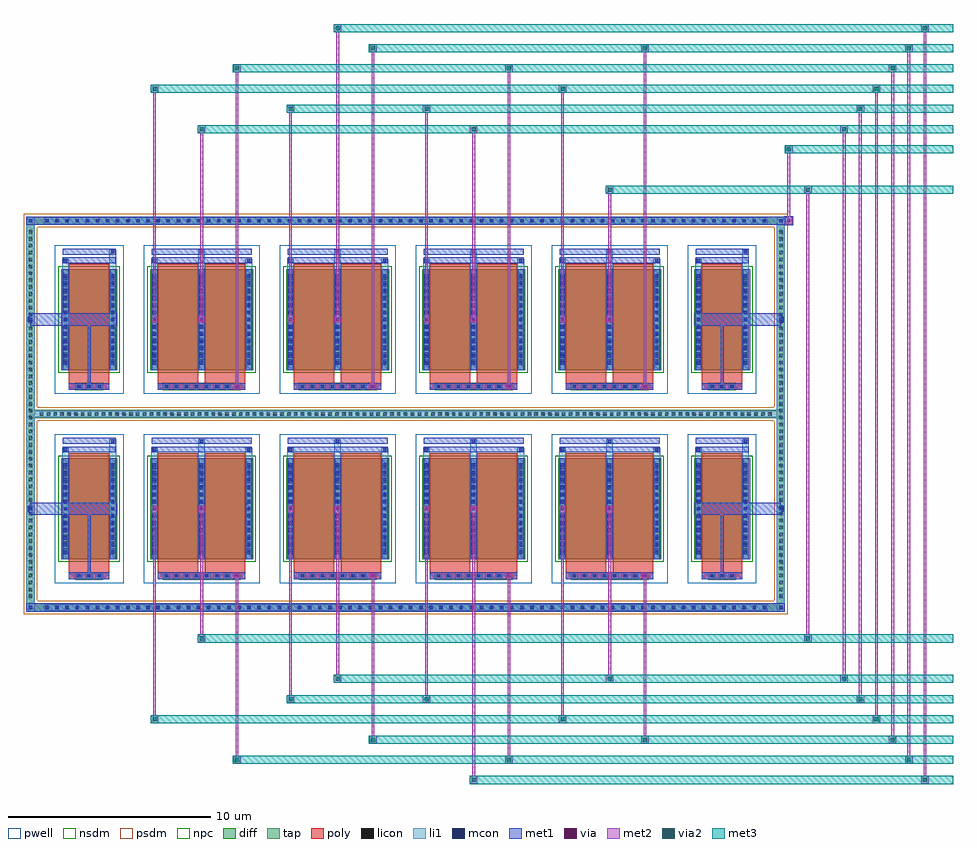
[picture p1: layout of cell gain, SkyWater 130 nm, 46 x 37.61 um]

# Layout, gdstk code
import gdstk
lib = gdstk.Library(unit=1e-6, precision=5e-09)
def R(c, l, rs):  # rectangles x0, y0, x1, y1
    for r in rs: c.add(gdstk.rectangle(r[:2], r[2:], *l))
def A(c, l, x, y, w, h, nx, ny, dx, dy):  # array of equal rectangles
    R(c, l, [(x+i*dx, y+j*dy, x+i*dx+w, y+j*dy+h) for i in range(nx) for j in range(ny)])
def P(c, l, *ps):  # polygons
    for p in ps: c.add(gdstk.Polygon(p, *l))
pwell = (64, 44)
diff = (65, 20)
tap = (65, 44)
poly = (66, 20)
licon = (66, 44)
li1 = (67, 20)
mcon = (67, 44)
met1 = (68, 20)
via = (68, 44)
met2 = (69, 20)
via2 = (69, 44)
met3 = (70, 20)
nsdm = (93, 44)
psdm = (94, 20)
npc = (95, 20)

unnamed_b4f58197 = lib.new_cell('Unnamed_b4f58197')
R(unnamed_b4f58197, pwell, [(-2.865,-3.68,2.865,3.685)])
R(unnamed_b4f58197, diff, [(-2.555,-2.5,2.555,2.5)])
A(unnamed_b4f58197, poly, -1.915, -3.48, 0.33, 0.33, 8, 1, 0.5, 0)
R(unnamed_b4f58197, poly, [(-2.165,-3.48,2.165,-3.15), (-2.165,-3.15,-0.165,-2.75), (0.165,-3.15,2.165,-2.75), (-2.165,-2.75,-0.165,2.75), (0.165,-2.75,2.165,2.75)])
A(unnamed_b4f58197, licon, -1.835, -3.4, 0.17, 0.17, 8, 1, 0.5, 0)
A(unnamed_b4f58197, licon, -2.415, -2.125, 0.17, 0.17, 3, 13, 2.33, 0.34)
A(unnamed_b4f58197, li1, -1.915, -3.48, 0.33, 0.33, 8, 1, 0.5, 0)
A(unnamed_b4f58197, li1, -2.495, -2.5, 0.33, 5, 3, 1, 2.33, 0)
A(unnamed_b4f58197, li1, -2.415, -2.245, 0.17, 0.17, 3, 13, 2.33, 0.36)
A(unnamed_b4f58197, li1, -2.415, -2.245, 0.17, 4.49, 3, 1, 2.33, 0)
A(unnamed_b4f58197, li1, -2.495, -2.205, 0.33, 0.33, 3, 13, 2.33, 0.34)
R(unnamed_b4f58197, li1, [(-2.495,2.5,-2.165,3.015), (-0.165,2.5,0.165,3.445), (2.165,2.5,2.495,3.015), (-2.415,2.845,-2.245,3.015), (2.245,2.845,2.415,3.015), (-0.085,3.275,0.085,3.445)])
A(unnamed_b4f58197, mcon, -1.835, -3.4, 0.17, 0.17, 8, 1, 0.5, 0)
A(unnamed_b4f58197, mcon, -2.415, -2.245, 0.17, 0.17, 3, 13, 2.33, 0.36)
R(unnamed_b4f58197, mcon, [(-2.415,2.845,-2.245,3.015), (2.245,2.845,2.415,3.015), (-0.085,3.275,0.085,3.445)])
A(unnamed_b4f58197, met1, -1.895, -3.46, 0.29, 0.29, 8, 1, 0.5, 0)
A(unnamed_b4f58197, met1, -2.475, -2.5, 0.29, 5, 3, 1, 2.33, 0)
A(unnamed_b4f58197, met1, -2.475, -2.305, 0.29, 0.29, 3, 13, 2.33, 0.36)
R(unnamed_b4f58197, met1, [(-2.165,-3.48,2.165,-3.15), (-2.475,2.785,-2.185,3.075), (-2.475,2.785,2.475,3.075), (2.185,2.785,2.475,3.075), (-2.475,3.215,2.475,3.505), (-0.145,3.215,0.145,3.505)])
R(unnamed_b4f58197, nsdm, [(-2.685,-2.63,2.685,2.63)])
A(unnamed_b4f58197, npc, -1.935, -3.5, 0.37, 0.37, 8, 1, 0.5, 0)
R(unnamed_b4f58197, npc, [(-1.935,-3.5,-1.065,-3.13), (-1.935,-3.5,-1.065,-3.13), (-1.435,-3.5,-0.565,-3.13), (-1.435,-3.5,-0.565,-3.13), (-0.935,-3.5,-0.065,-3.13), (-0.935,-3.5,-0.065,-3.13), (-0.435,-3.5,0.435,-3.13), (-0.435,-3.5,0.435,-3.13), (0.065,-3.5,0.935,-3.13), (0.065,-3.5,0.935,-3.13), (0.565,-3.5,1.435,-3.13), (0.565,-3.5,1.435,-3.13), (1.065,-3.5,1.935,-3.13), (1.065,-3.5,1.935,-3.13)])

unnamed_fe0c7317 = lib.new_cell('Unnamed_fe0c7317')
R(unnamed_fe0c7317, pwell, [(-1.7,-3.68,1.7,3.685)])
R(unnamed_fe0c7317, diff, [(-1.39,-2.5,1.39,2.5)])
A(unnamed_fe0c7317, poly, -0.665, -3.48, 0.33, 0.33, 3, 1, 0.5, 0)
R(unnamed_fe0c7317, poly, [(-1,-3.48,1,-3.15), (-1,-3.15,1,-2.75), (-1,-2.75,1,2.75)])
A(unnamed_fe0c7317, licon, -0.585, -3.4, 0.17, 0.17, 3, 1, 0.5, 0)
A(unnamed_fe0c7317, licon, -1.25, -2.125, 0.17, 0.17, 1, 13, 0, 0.34)
A(unnamed_fe0c7317, licon, 1.08, -2.125, 0.17, 0.17, 1, 13, 0, 0.34)
A(unnamed_fe0c7317, li1, -0.665, -3.48, 0.33, 0.33, 3, 1, 0.5, 0)
A(unnamed_fe0c7317, li1, -1.25, -2.245, 0.17, 0.17, 1, 13, 0, 0.36)
A(unnamed_fe0c7317, li1, 1.08, -2.245, 0.17, 0.17, 1, 13, 0, 0.36)
A(unnamed_fe0c7317, li1, -1.33, -2.205, 0.33, 0.33, 1, 13, 0, 0.34)
A(unnamed_fe0c7317, li1, 1, -2.205, 0.33, 0.33, 1, 13, 0, 0.34)
R(unnamed_fe0c7317, li1, [(-1.33,-2.5,-1,2.5), (1,-2.5,1.33,2.5), (-1.25,-2.245,-1.08,2.245), (1.08,-2.245,1.25,2.245), (-1.33,2.5,-1,3.015), (1,2.5,1.33,3.445), (-1.25,2.845,-1.08,3.015), (1.08,3.275,1.25,3.445)])
A(unnamed_fe0c7317, mcon, -0.585, -3.4, 0.17, 0.17, 3, 1, 0.5, 0)
A(unnamed_fe0c7317, mcon, -1.25, -2.245, 0.17, 0.17, 1, 13, 0, 0.36)
A(unnamed_fe0c7317, mcon, 1.08, -2.245, 0.17, 0.17, 1, 13, 0, 0.36)
R(unnamed_fe0c7317, mcon, [(-1.25,2.845,-1.08,3.015), (1.08,3.275,1.25,3.445)])
A(unnamed_fe0c7317, met1, -0.645, -3.46, 0.29, 0.29, 3, 1, 0.5, 0)
A(unnamed_fe0c7317, met1, -1.31, -2.305, 0.29, 0.29, 1, 13, 0, 0.36)
A(unnamed_fe0c7317, met1, 1.02, -2.305, 0.29, 0.29, 1, 13, 0, 0.36)
R(unnamed_fe0c7317, met1, [(-1,-3.48,1,-3.15), (-1.31,-2.5,-1.02,2.5), (1.02,-2.5,1.31,2.5), (-1.31,2.785,-1.02,3.075), (-1.31,2.785,1.31,3.075), (-1.31,3.215,1.31,3.505), (1.02,3.215,1.31,3.505)])
R(unnamed_fe0c7317, nsdm, [(-1.52,-2.63,1.52,2.63)])
A(unnamed_fe0c7317, npc, -0.685, -3.5, 0.37, 0.37, 3, 1, 0.5, 0)
R(unnamed_fe0c7317, npc, [(-0.685,-3.5,0.185,-3.13), (-0.685,-3.5,0.185,-3.13), (-0.185,-3.5,0.685,-3.13), (-0.185,-3.5,0.685,-3.13)])

unnamed_6e611ccf_1 = lib.new_cell('Unnamed_6e611ccf$1')
A(unnamed_6e611ccf_1, diff, -17.955, -9.775, 0.41, 0.41, 72, 2, 0.5, 19.14)
A(unnamed_6e611ccf_1, diff, -18.77, -9.215, 0.41, 0.41, 1, 54, 0, 0.34)
A(unnamed_6e611ccf_1, diff, 18.36, -9.215, 0.41, 0.41, 1, 54, 0, 0.34)
R(unnamed_6e611ccf_1, diff, [(-17.955,-9.775,17.955,-9.365), (-18.77,-9.215,-18.36,9.215), (18.36,-9.215,18.77,9.215), (-17.955,9.365,17.955,9.775)])
P(unnamed_6e611ccf_1, diff, [(18.77,9.775),(-18.77,9.775),(-18.77,-9.365),(-18.36,-9.365),(-18.36,9.365),(18.36,9.365),(18.36,-9.365),(-18.36,-9.365),(-18.77,-9.365),(-18.77,-9.775),(18.77,-9.775)])
A(unnamed_6e611ccf_1, licon, -17.835, -9.655, 0.17, 0.17, 72, 2, 0.5, 19.14)
A(unnamed_6e611ccf_1, licon, -18.65, -9.095, 0.17, 0.17, 1, 54, 0, 0.34)
A(unnamed_6e611ccf_1, licon, 18.48, -9.095, 0.17, 0.17, 1, 54, 0, 0.34)
A(unnamed_6e611ccf_1, li1, -17.915, -9.735, 0.33, 0.33, 72, 2, 0.5, 19.14)
A(unnamed_6e611ccf_1, li1, -18.73, -9.175, 0.33, 0.33, 1, 54, 0, 0.34)
A(unnamed_6e611ccf_1, li1, 18.4, -9.175, 0.33, 0.33, 1, 54, 0, 0.34)
R(unnamed_6e611ccf_1, li1, [(-18.77,-9.775,-18.36,-9.365), (18.36,-9.775,18.77,-9.365), (-17.915,-9.735,17.915,-9.405), (-18.65,-9.655,-18.48,-9.485), (-18.65,-9.655,-18.48,-9.485), (18.48,-9.655,18.65,-9.485), (18.48,-9.655,18.65,-9.485), (-18.77,-9.365,-18.36,9.365), (18.36,-9.365,18.77,9.365), (-18.77,9.365,-18.36,9.775), (18.36,9.365,18.77,9.775), (-17.915,9.405,17.915,9.735), (-18.65,9.485,-18.48,9.655), (-18.65,9.485,-18.48,9.655), (18.48,9.485,18.65,9.655), (18.48,9.485,18.65,9.655)])
A(unnamed_6e611ccf_1, mcon, -17.835, -9.655, 0.17, 0.17, 72, 2, 0.5, 19.14)
R(unnamed_6e611ccf_1, mcon, [(-18.65,-9.655,-18.48,-9.485), (18.48,-9.655,18.65,-9.485), (-18.65,9.485,-18.48,9.655), (18.48,9.485,18.65,9.655)])
A(unnamed_6e611ccf_1, met1, -17.895, -9.715, 0.29, 0.29, 72, 2, 0.5, 19.14)
R(unnamed_6e611ccf_1, met1, [(-18.77,-9.775,-18.36,-9.365), (-18.77,-9.775,-18.36,-9.365), (-18.36,-9.775,18.36,-9.365), (18.36,-9.775,18.77,-9.365), (18.36,-9.775,18.77,-9.365), (-18.71,-9.715,-18.42,-9.425), (18.42,-9.715,18.71,-9.425), (-18.77,9.365,-18.36,9.775), (-18.77,9.365,-18.36,9.775), (-18.36,9.365,18.36,9.775), (18.36,9.365,18.77,9.775), (18.36,9.365,18.77,9.775), (-18.71,9.425,-18.42,9.715), (18.42,9.425,18.71,9.715)])
P(unnamed_6e611ccf_1, psdm, [(18.9,9.905),(-18.9,9.905),(-18.9,-9.235),(-18.23,-9.235),(-18.23,9.235),(18.23,9.235),(18.23,-9.235),(-18.23,-9.235),(-18.9,-9.235),(-18.9,-9.905),(18.9,-9.905)])

via_stack_9ce972bd_24 = lib.new_cell('via_stack_9ce972bd$24')
R(via_stack_9ce972bd_24, li1, [(-0.085,-0.085,0.085,0.085)])
R(via_stack_9ce972bd_24, mcon, [(-0.085,-0.085,0.085,0.085)])
R(via_stack_9ce972bd_24, met1, [(-0.145,-0.145,0.145,0.145)])

via_stack_9ce972bd_25 = lib.new_cell('via_stack_9ce972bd$25')
R(via_stack_9ce972bd_25, li1, [(-0.085,-0.085,0.085,0.085)])
R(via_stack_9ce972bd_25, mcon, [(-0.085,-0.085,0.085,0.085)])
R(via_stack_9ce972bd_25, met1, [(-0.145,-0.145,0.145,0.145)])

via_stack_9ce972bd_26 = lib.new_cell('via_stack_9ce972bd$26')
R(via_stack_9ce972bd_26, li1, [(-0.085,-0.085,0.085,0.085)])
R(via_stack_9ce972bd_26, mcon, [(-0.085,-0.085,0.085,0.085)])
R(via_stack_9ce972bd_26, met1, [(-0.145,-0.145,0.145,0.145)])

via_stack_9ce972bd_27 = lib.new_cell('via_stack_9ce972bd$27')
R(via_stack_9ce972bd_27, li1, [(-0.085,-0.085,0.085,0.085)])
R(via_stack_9ce972bd_27, mcon, [(-0.085,-0.085,0.085,0.085)])
R(via_stack_9ce972bd_27, met1, [(-0.145,-0.145,0.145,0.145)])

via_stack_22ee024c_1 = lib.new_cell('via_stack_22ee024c$1')
R(via_stack_22ee024c_1, met1, [(-0.215,-0.215,0.215,0.215)])
R(via_stack_22ee024c_1, via, [(-0.075,-0.075,0.075,0.075)])
R(via_stack_22ee024c_1, met2, [(-0.165,-0.165,0.165,0.165)])

gain = lib.new_cell('gain')
R(gain, tap, [(-1.205,-8.57,35.925,-8.16)])
A(gain, licon, -0.745, -8.45, 0.17, 0.17, 107, 1, 0.34, 0)
R(gain, li1, [(-1.205,-8.53,35.925,-8.2)])
A(gain, met1, 8.855, -16.525, 0.32, 0.32, 4, 2, 6.73, 9.365)
R(gain, met1, [(1.63,-16.435,1.77,-13.05), (32.95,-16.435,33.09,-13.05), (-1.205,-13.35,3.065,-12.75), (31.655,-13.35,35.925,-12.75), (4.775,-13.21,5.095,-12.89), (7.105,-13.21,7.425,-12.89), (11.505,-13.21,11.825,-12.89), (13.835,-13.21,14.155,-12.89), (18.235,-13.21,18.555,-12.89), (20.565,-13.21,20.885,-12.89), (24.965,-13.21,25.285,-12.89), (27.295,-13.21,27.615,-12.89), (1.63,-7.07,1.77,-3.685), (32.95,-7.07,33.09,-3.685), (-1.205,-3.985,3.065,-3.385), (31.655,-3.985,35.925,-3.385), (4.775,-3.845,5.095,-3.525), (7.105,-3.845,7.425,-3.525), (11.505,-3.845,11.825,-3.525), (13.835,-3.845,14.155,-3.525), (18.235,-3.845,18.555,-3.525), (20.565,-3.845,20.885,-3.525), (24.965,-3.845,25.285,-3.525), (27.295,-3.845,27.615,-3.525)])
A(gain, via, 8.94, -16.44, 0.15, 0.15, 4, 2, 6.73, 9.365)
R(gain, via, [(4.86,-13.125,5.01,-12.975), (7.19,-13.125,7.34,-12.975), (11.59,-13.125,11.74,-12.975), (13.92,-13.125,14.07,-12.975), (18.32,-13.125,18.47,-12.975), (20.65,-13.125,20.8,-12.975), (25.05,-13.125,25.2,-12.975), (27.38,-13.125,27.53,-12.975), (4.86,-3.76,5.01,-3.61), (7.19,-3.76,7.34,-3.61), (11.59,-3.76,11.74,-3.61), (13.92,-3.76,14.07,-3.61), (18.32,-3.76,18.47,-3.61), (20.65,-3.76,20.8,-3.61), (25.05,-3.76,25.2,-3.61), (27.38,-3.76,27.53,-3.61)])
A(gain, met2, 8.855, -16.525, 0.32, 0.32, 4, 2, 6.73, 9.365)
R(gain, met2, [(20.54,-26.655,20.91,-26.285), (42.875,-26.655,43.245,-26.285), (20.655,-26.47,20.795,-13.05), (42.99,-26.47,43.13,10.74), (8.83,-25.655,9.2,-25.285), (22.29,-25.655,22.66,-25.285), (42.075,-25.655,42.445,-25.285), (8.945,-25.47,9.085,-16.365), (22.405,-25.47,22.545,-16.365), (42.19,-25.47,42.33,9.74), (15.56,-24.655,15.93,-24.285), (29.02,-24.655,29.39,-24.285), (41.275,-24.655,41.645,-24.285), (15.675,-24.47,15.815,-16.365), (29.135,-24.47,29.275,-16.365), (41.39,-24.47,41.53,8.74), (4.75,-23.655,5.12,-23.285), (24.94,-23.655,25.31,-23.285), (40.475,-23.655,40.845,-23.285), (4.865,-23.47,5.005,-13.05), (25.055,-23.47,25.195,-13.05), (40.59,-23.47,40.73,7.74), (11.48,-22.655,11.85,-22.285), (18.21,-22.655,18.58,-22.285), (39.675,-22.655,40.045,-22.285), (11.595,-22.47,11.735,-13.05), (18.325,-22.47,18.465,-13.05), (39.79,-22.47,39.93,6.74), (13.81,-21.655,14.18,-21.285), (27.27,-21.655,27.64,-21.285), (38.875,-21.655,39.245,-21.285), (13.925,-21.47,14.065,-13.05), (27.385,-21.47,27.525,-13.05), (38.99,-21.47,39.13,5.74), (7.08,-19.655,7.45,-19.285), (37.075,-19.655,37.445,-19.285), (7.195,-19.47,7.335,-13.05), (37.19,-19.47,37.33,2.74), (4.775,-13.21,5.095,-12.89), (7.105,-13.21,7.425,-12.89), (11.505,-13.21,11.825,-12.89), (13.835,-13.21,14.155,-12.89), (18.235,-13.21,18.555,-12.89), (20.565,-13.21,20.885,-12.89), (24.965,-13.21,25.285,-12.89), (27.295,-13.21,27.615,-12.89), (8.945,-7,9.085,8.74), (15.675,-7,15.815,9.74), (22.405,-7,22.545,8.74), (29.135,-7,29.275,9.74), (4.775,-3.845,5.095,-3.525), (7.105,-3.845,7.425,-3.525), (11.505,-3.845,11.825,-3.525), (13.835,-3.845,14.155,-3.525), (18.235,-3.845,18.555,-3.525), (20.565,-3.845,20.885,-3.525), (24.965,-3.845,25.285,-3.525), (27.295,-3.845,27.615,-3.525), (4.865,-3.685,5.005,7.74), (7.195,-3.685,7.335,5.74), (11.595,-3.685,11.735,6.74), (13.925,-3.685,14.065,10.74), (18.325,-3.685,18.465,6.74), (20.655,-3.685,20.795,5.74), (25.055,-3.685,25.195,7.74), (27.385,-3.685,27.525,2.74), (36.25,1.205,36.39,4.74), (27.27,2.555,27.64,2.925), (37.075,2.555,37.445,2.925), (36.135,4.555,36.505,4.925), (7.08,5.555,7.45,5.925), (20.54,5.555,20.91,5.925), (38.875,5.555,39.245,5.925), (11.48,6.555,11.85,6.925), (18.21,6.555,18.58,6.925), (39.675,6.555,40.045,6.925), (4.75,7.555,5.12,7.925), (24.94,7.555,25.31,7.925), (40.475,7.555,40.845,7.925), (8.83,8.555,9.2,8.925), (22.29,8.555,22.66,8.925), (41.275,8.555,41.645,8.925), (15.56,9.555,15.93,9.925), (29.02,9.555,29.39,9.925), (42.075,9.555,42.445,9.925), (13.81,10.555,14.18,10.925), (42.875,10.555,43.245,10.925)])
R(gain, via2, [(20.625,-26.57,20.825,-26.37), (42.96,-26.57,43.16,-26.37), (8.915,-25.57,9.115,-25.37), (22.375,-25.57,22.575,-25.37), (42.16,-25.57,42.36,-25.37), (15.645,-24.57,15.845,-24.37), (29.105,-24.57,29.305,-24.37), (41.36,-24.57,41.56,-24.37), (4.835,-23.57,5.035,-23.37), (25.025,-23.57,25.225,-23.37), (40.56,-23.57,40.76,-23.37), (11.565,-22.57,11.765,-22.37), (18.295,-22.57,18.495,-22.37), (39.76,-22.57,39.96,-22.37), (13.895,-21.57,14.095,-21.37), (27.355,-21.57,27.555,-21.37), (38.96,-21.57,39.16,-21.37), (7.165,-19.57,7.365,-19.37), (37.16,-19.57,37.36,-19.37), (27.355,2.64,27.555,2.84), (37.16,2.64,37.36,2.84), (36.22,4.64,36.42,4.84), (7.165,5.64,7.365,5.84), (20.625,5.64,20.825,5.84), (38.96,5.64,39.16,5.84), (11.565,6.64,11.765,6.84), (18.295,6.64,18.495,6.84), (39.76,6.64,39.96,6.84), (4.835,7.64,5.035,7.84), (25.025,7.64,25.225,7.84), (40.56,7.64,40.76,7.84), (8.915,8.64,9.115,8.84), (22.375,8.64,22.575,8.84), (41.36,8.64,41.56,8.84), (15.645,9.64,15.845,9.84), (29.105,9.64,29.305,9.84), (42.16,9.64,42.36,9.84), (13.895,10.64,14.095,10.84), (42.96,10.64,43.16,10.84)])
R(gain, met3, [(20.525,-26.67,20.925,-26.27), (20.525,-26.67,44.46,-26.27), (42.86,-26.67,43.26,-26.27), (8.815,-25.67,9.215,-25.27), (8.815,-25.67,44.46,-25.27), (22.275,-25.67,22.675,-25.27), (42.06,-25.67,42.46,-25.27), (15.545,-24.67,15.945,-24.27), (15.545,-24.67,44.46,-24.27), (29.005,-24.67,29.405,-24.27), (41.26,-24.67,41.66,-24.27), (4.735,-23.67,5.135,-23.27), (4.735,-23.67,44.46,-23.27), (24.925,-23.67,25.325,-23.27), (40.46,-23.67,40.86,-23.27), (11.465,-22.67,11.865,-22.27), (11.465,-22.67,44.46,-22.27), (18.195,-22.67,18.595,-22.27), (39.66,-22.67,40.06,-22.27), (13.795,-21.67,14.195,-21.27), (13.795,-21.67,44.46,-21.27), (27.255,-21.67,27.655,-21.27), (38.86,-21.67,39.26,-21.27), (7.065,-19.67,7.465,-19.27), (7.065,-19.67,44.46,-19.27), (37.06,-19.67,37.46,-19.27), (27.255,2.54,27.655,2.94), (27.255,2.54,44.46,2.94), (37.06,2.54,37.46,2.94), (36.12,4.54,36.52,4.94), (36.12,4.54,44.46,4.94), (7.065,5.54,7.465,5.94), (7.065,5.54,44.46,5.94), (20.525,5.54,20.925,5.94), (38.86,5.54,39.26,5.94), (11.465,6.54,11.865,6.94), (11.465,6.54,44.46,6.94), (18.195,6.54,18.595,6.94), (39.66,6.54,40.06,6.94), (4.735,7.54,5.135,7.94), (4.735,7.54,44.46,7.94), (24.925,7.54,25.325,7.94), (40.46,7.54,40.86,7.94), (8.815,8.54,9.215,8.94), (8.815,8.54,44.46,8.94), (22.275,8.54,22.675,8.94), (41.26,8.54,41.66,8.94), (15.545,9.54,15.945,9.94), (15.545,9.54,44.46,9.94), (29.005,9.54,29.405,9.94), (42.06,9.54,42.46,9.94), (13.795,10.54,14.195,10.94), (13.795,10.54,44.46,10.94), (42.86,10.54,43.26,10.94)])
R(gain, psdm, [(-1.205,-8.695,35.925,-8.035)])
gain.add(gdstk.Reference(unnamed_b4f58197, (13.995,-3.685)))
gain.add(gdstk.Reference(unnamed_b4f58197, (20.725,-13.05)))
gain.add(gdstk.Reference(unnamed_b4f58197, (20.725,-3.685)))
gain.add(gdstk.Reference(unnamed_b4f58197, (13.995,-13.05)))
gain.add(gdstk.Reference(unnamed_b4f58197, (7.265,-3.685)))
gain.add(gdstk.Reference(unnamed_b4f58197, (27.455,-13.05)))
gain.add(gdstk.Reference(unnamed_b4f58197, (27.455,-3.685)))
gain.add(gdstk.Reference(unnamed_b4f58197, (7.265,-13.05)))
gain.add(gdstk.Reference(unnamed_fe0c7317, (1.7,-3.685)))
gain.add(gdstk.Reference(unnamed_fe0c7317, (33.02,-3.685)))
gain.add(gdstk.Reference(unnamed_fe0c7317, (1.7,-13.05)))
gain.add(gdstk.Reference(unnamed_fe0c7317, (33.02,-13.05)))
gain.add(gdstk.Reference(unnamed_6e611ccf_1, (17.36,-8.365)))
gain.add(gdstk.Reference(via_stack_9ce972bd_24, (-1.205,-3.685)))
gain.add(gdstk.Reference(via_stack_9ce972bd_25, (35.925,-3.685)))
gain.add(gdstk.Reference(via_stack_9ce972bd_26, (-1.205,-13.05)))
gain.add(gdstk.Reference(via_stack_9ce972bd_27, (35.925,-13.05)))
gain.add(gdstk.Reference(via_stack_22ee024c_1, (36.32,1.205)))

lib.write_gds('gain.gds')
